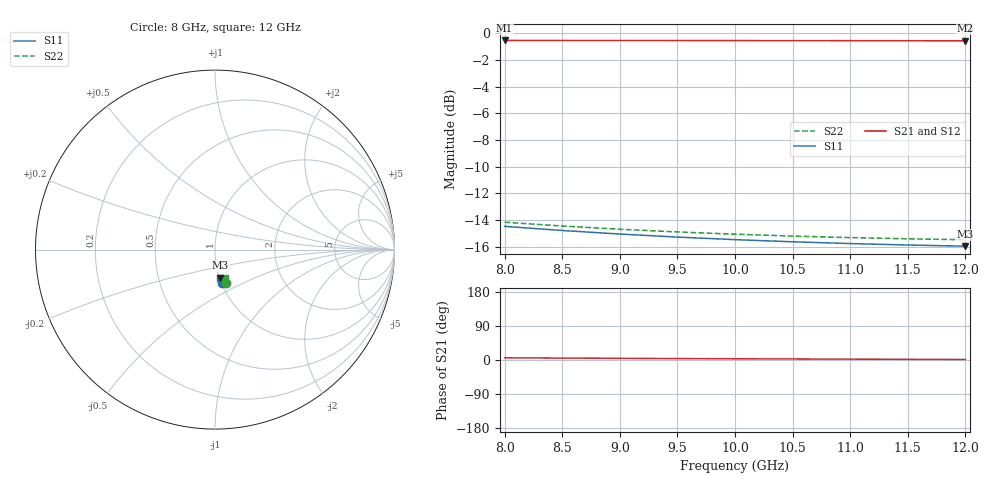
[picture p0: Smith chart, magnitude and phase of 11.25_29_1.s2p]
! Created Thu Oct 22 17:12:16 2020
# hz S ma R 50
! 2 Port Network Data from SP1.SP block
! freq  magS11  angS11  magS21  angS21  magS12  angS12  magS22  angS22
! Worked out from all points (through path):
!   9 points, 8 GHz to 12 GHz, reference 50 ohm
!   highest |S21| = -0.53 dB at 8 GHz (marker M1); lowest = -0.6 dB at 12 GHz (marker M2)
!   lowest |S11| = -16.0 dB at 12 GHz (marker M3), VSWR 1.38, Z = 50.5 - j16.2 ohm
!   |S11| at or under -10 dB: start of sweep to end of sweep
!   |S22| runs from -15.5 to -14.2 dB; largest |S21 - S12| = 0
8e9  0.189 -78.6  0.9408 5.8  0.9408 5.8  0.1958 -71.1
8.5e9  0.1823 -78.7  0.9407 5.1  0.9407 5.1  0.1895 -71.0
9e9  0.1768 -78.8  0.9404 4.4  0.9404 4.4  0.1843 -70.8
9.5e9  0.1722 -78.8  0.9401 3.8  0.9401 3.8  0.18 -70.7
1e10  0.1685 -78.9  0.9398 3.3  0.9398 3.3  0.1766 -70.6
1.05e10  0.1654 -78.9  0.9393 2.7  0.9393 2.7  0.1737 -70.5
1.1e10  0.1628 -79.0  0.9389 2.3  0.9389 2.3  0.1715 -70.5
1.15e10  0.1608 -79.0  0.9384 1.8  0.9384 1.8  0.1697 -70.5
1.2e10  0.1592 -79.1  0.9379 1.4  0.9379 1.4  0.1683 -70.5
